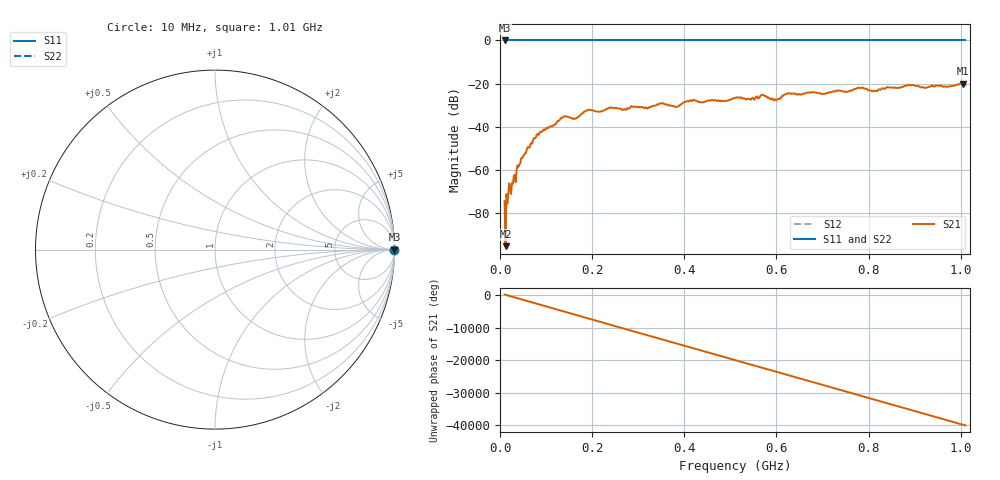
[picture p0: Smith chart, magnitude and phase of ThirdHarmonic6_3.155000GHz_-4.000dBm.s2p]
! 8/17/2025 9:27:21 AM
! C:\ANRITSUVNA\TEMP\TEMP.S2P
! CHANNEL.1
! TR.MEASUREMENT
! RAW.DATA
! RF.CORRECTION.OFF
! AVERAGING.OFF
! IF.BANDWIDTH: 5KHZ
! SWEEPTYPE:  FREQ.SWEEP(Linear)
! Reference Plane Port Info
! PORT:  PORT1  PORT2
! DISTANCE:  0  m  0  m
! TIME:  0  s  0  s
! PHASE.OFFSET:  0  deg.  0  deg.
! LOSS:  0  dB  0  dB
! REF.LOSS:  0  dB  0  dB
! REF.FREQ:  0  Hz  0  Hz
! Power Info
! POWER:  -20  dBm  -20  dBm
! EFF.POWER:  -20  dBm  -20  dBm
! SOURCE.ATTEN:  0  dB  0  dB
! TEST.ATTEN:  0  dB  0  dB
# GHZ S RI R 50.0
! FREQ.GHZ  S11RE  S11IM  S21RE  S21IM  S12RE  S12IM  S22RE  S22IM
!; PortSelection: Port_12
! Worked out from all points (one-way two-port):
!   501 points, 10 MHz to 1.01 GHz, reference 50 ohm
!   highest |S21| = -20.00 dB at 1.004 GHz (marker M1); lowest = -95.2 dB at 12 MHz (marker M2)
!   lowest |S11| = 0.0 dB at 10 MHz (marker M3)
!   |S11| at or under -10 dB: nowhere
!   |S22| runs from 0.0 to 0.0 dB; largest |S21 - S12| = 1.1
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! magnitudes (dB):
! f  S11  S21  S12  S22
! 10 MHz  0.0  -74.4  0.0  0.0
! 12 MHz  0.0  -95.2  0.0  0.0
! 42 MHz  0.0  -57.4  0.0  0.0
! 78 MHz  0.0  -44.8  0.0  0.0
! 136 MHz  0.0  -35.6  0.0  0.0
! 164 MHz  0.0  -36.1  0.0  0.0
! 178 MHz  0.0  -33.8  0.0  0.0
! 192 MHz  0.0  -32.1  0.0  0.0
! 318 MHz  0.0  -31.2  0.0  0.0
! 344 MHz  0.0  -29.7  0.0  0.0
! 384 MHz  0.0  -30.7  0.0  0.0
! 418 MHz  0.0  -27.9  0.0  0.0
! 510 MHz  0.0  -26.6  0.0  0.0
! 570 MHz  0.0  -25.2  0.0  0.0
! 598 MHz  0.0  -27.5  0.0  0.0
! 624 MHz  0.0  -24.5  0.0  0.0
! 678 MHz  0.0  -23.9  0.0  0.0
! 782 MHz  0.0  -22.0  0.0  0.0
! 814 MHz  0.0  -23.2  0.0  0.0
! 844 MHz  0.0  -21.7  0.0  0.0
! 1.004 GHz  0.0  -20.0  0.0  0.0
! 1.01 GHz  0.0  -20.5  0.0  0.0
